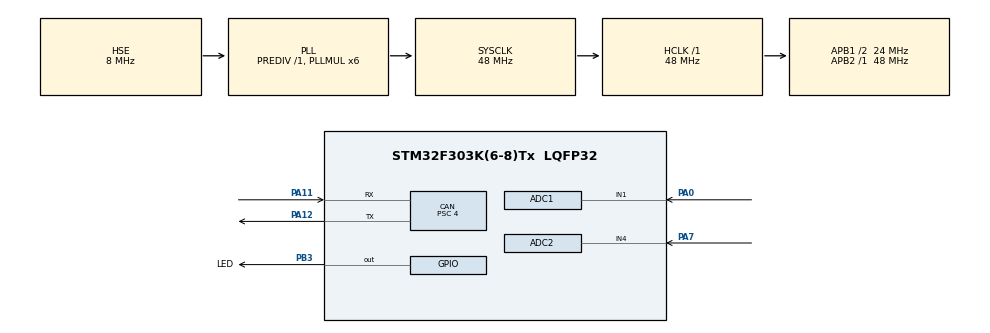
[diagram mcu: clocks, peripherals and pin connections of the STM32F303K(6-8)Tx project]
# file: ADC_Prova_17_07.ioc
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ADC1.Channel-0\#ChannelRegularConversion=ADC_CHANNEL_1
ADC1.ClockPrescaler=ADC_CLOCK_ASYNC_DIV1
ADC1.ContinuousConvMode=ENABLE
ADC1.DMAContinuousRequests=DISABLE
ADC1.DataAlign=ADC_DATAALIGN_RIGHT
ADC1.DiscontinuousConvMode=DISABLE
ADC1.EOCSelection=ADC_EOC_SINGLE_CONV
ADC1.EnableAnalogWatchDog1=false
ADC1.EnableAnalogWatchDog2=false
ADC1.EnableAnalogWatchDog3=false
ADC1.EnableInjectedConversion=ENABLE
ADC1.EnableRegularConversion=ENABLE
ADC1.ExternalTrigConv=ADC_SOFTWARE_START
ADC1.ExternalTrigConvEdge=ADC_EXTERNALTRIGCONVEDGE_NONE
ADC1.InjNumberOfConversion=0
ADC1.LowPowerAutoWait=DISABLE
ADC1.NbrOfConversion=1
ADC1.NbrOfConversionFlag=1
ADC1.Offset-0\#ChannelRegularConversion=0
ADC1.OffsetNumber-0\#ChannelRegularConversion=ADC_OFFSET_NONE
ADC1.Overrun=ADC_OVR_DATA_OVERWRITTEN
ADC1.Rank-0\#ChannelRegularConversion=1
ADC1.Resolution=ADC_RESOLUTION_12B
ADC1.SamplingTime-0\#ChannelRegularConversion=ADC_SAMPLETIME_601CYCLES_5
ADC1.ScanConvMode=ADC_SCAN_DISABLE
ADC1.SubFamily=STM32F303x8
ADC1.master=1
ADC2.Channel-1\#ChannelRegularConversion=ADC_CHANNEL_4
ADC2.ClockPrescaler=ADC_CLOCK_ASYNC_DIV1
ADC2.ContinuousConvMode=ENABLE
ADC2.DMAContinuousRequests=DISABLE
ADC2.DataAlign=ADC_DATAALIGN_RIGHT
ADC2.DiscontinuousConvMode=DISABLE
ADC2.EOCSelection=ADC_EOC_SINGLE_CONV
ADC2.EnableAnalogWatchDog1=false
ADC2.EnableAnalogWatchDog2=false
ADC2.EnableAnalogWatchDog3=false
ADC2.EnableInjectedConversion=ENABLE
ADC2.EnableRegularConversion=ENABLE
ADC2.ExternalTrigConv=ADC_SOFTWARE_START
ADC2.ExternalTrigConvEdge=ADC_EXTERNALTRIGCONVEDGE_NONE
ADC2.InjNumberOfConversion=0
ADC2.LowPowerAutoWait=DISABLE
ADC2.NbrOfConversion=1
ADC2.NbrOfConversionFlag=1
ADC2.Offset-1\#ChannelRegularConversion=0
ADC2.OffsetNumber-1\#ChannelRegularConversion=ADC_OFFSET_NONE
ADC2.Overrun=ADC_OVR_DATA_OVERWRITTEN
ADC2.Rank-1\#ChannelRegularConversion=1
ADC2.Resolution=ADC_RESOLUTION_12B
ADC2.SamplingTime-1\#ChannelRegularConversion=ADC_SAMPLETIME_601CYCLES_5
ADC2.ScanConvMode=ADC_SCAN_DISABLE
CAN.BS1=CAN_BS1_7TQ
CAN.CalculateTimeQuantum=166.66666666666666
CAN.Prescaler=4
CAN.TTCM=ENABLE
Mcu.Family=STM32F3
Mcu.Name=STM32F303K(6-8)Tx
Mcu.Package=LQFP32
NVIC.ADC1_2_IRQn=true\:0\:0\:false\:false\:true\:true
NVIC.CAN_RX0_IRQn=true\:0\:0\:false\:false\:true\:true
NVIC.CAN_RX1_IRQn=true\:0\:0\:false\:false\:true\:true
NVIC.PriorityGroup=NVIC_PRIORITYGROUP_4
PA0.Mode=IN1-Single-Ended
PA0.Signal=ADC1_IN1
PA11.Mode=Master
PA11.Signal=CAN_RX
PA12.Mode=Master
PA12.Signal=CAN_TX
PA13.Mode=Serial_Wire
PA13.Signal=SYS_JTMS-SWDIO
PA14.Mode=Serial_Wire
PA14.Signal=SYS_JTCK-SWCLK
PA7.Mode=IN4-Single-Ended
PA7.Signal=ADC2_IN4
PB3.GPIO_Label=LED
PB3.Signal=GPIO_Output
PF0\ /\ OSC_IN.Mode=HSE-External-Oscillator
PF0\ /\ OSC_IN.Signal=RCC_OSC_IN
PF1\ /\ OSC_OUT.Mode=HSE-External-Oscillator
PF1\ /\ OSC_OUT.Signal=RCC_OSC_OUT
ProjectManager.HeapSize=0x200
ProjectManager.StackSize=0x400
ProjectManager.TargetToolchain=SW4STM32
RCC.AHBFreq_Value=48000000
RCC.APB1CLKDivider=RCC_HCLK_DIV2
RCC.APB1Freq_Value=24000000
RCC.APB1TimFreq_Value=48000000
RCC.APB2Freq_Value=48000000
RCC.APB2TimFreq_Value=48000000
RCC.CortexFreq_Value=48000000
RCC.HCLKFreq_Value=48000000
RCC.HSE_VALUE=8000000
RCC.HSI_VALUE=8000000
RCC.PLLMUL=RCC_PLL_MUL6
RCC.PLLSourceVirtual=RCC_PLLSOURCE_HSE
RCC.SYSCLKFreq_VALUE=48000000
RCC.SYSCLKSourceVirtual=RCC_SYSCLKSOURCE_PLLCLK
board=NUCLEO-F303K8

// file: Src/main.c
/**
  ******************************************************************************
  * @file           : main.c
  * @brief          : Main program body
  ******************************************************************************
  ** This notice applies to any and all portions of this file
  * that are not between comment pairs USER CODE BEGIN and
  * USER CODE END. Other portions of this file, whether
  * inserted by the user or by software development tools
  * are owned by their respective copyright owners.
  *
  * COPYRIGHT(c) 2019 STMicroelectronics
  *
  * Redistribution and use in source and binary forms, with or without modification,
  * are permitted provided that the following conditions are met:
  *   1. Redistributions of source code must retain the above copyright notice,
  *      this list of conditions and the following disclaimer.
  *   2. Redistributions in binary form must reproduce the above copyright notice,
  *      this list of conditions and the following disclaimer in the documentation
  *      and/or other materials provided with the distribution.
  *   3. Neither the name of STMicroelectronics nor the names of its contributors
  *      may be used to endorse or promote products derived from this software
  *      without specific prior written permission.
  *
  * THIS SOFTWARE IS PROVIDED BY THE COPYRIGHT HOLDERS AND CONTRIBUTORS "AS IS"
  * AND ANY EXPRESS OR IMPLIED WARRANTIES, INCLUDING, BUT NOT LIMITED TO, THE
  * IMPLIED WARRANTIES OF MERCHANTABILITY AND FITNESS FOR A PARTICULAR PURPOSE ARE
  * DISCLAIMED. IN NO EVENT SHALL THE COPYRIGHT HOLDER OR CONTRIBUTORS BE LIABLE
  * FOR ANY DIRECT, INDIRECT, INCIDENTAL, SPECIAL, EXEMPLARY, OR CONSEQUENTIAL
  * DAMAGES (INCLUDING, BUT NOT LIMITED TO, PROCUREMENT OF SUBSTITUTE GOODS OR
  * SERVICES; LOSS OF USE, DATA, OR PROFITS; OR BUSINESS INTERRUPTION) HOWEVER
  * CAUSED AND ON ANY THEORY OF LIABILITY, WHETHER IN CONTRACT, STRICT LIABILITY,
  * OR TORT (INCLUDING NEGLIGENCE OR OTHERWISE) ARISING IN ANY WAY OUT OF THE USE
  * OF THIS SOFTWARE, EVEN IF ADVISED OF THE POSSIBILITY OF SUCH DAMAGE.
  *
  ******************************************************************************
  */
#include "main.h"
#include "stm32f3xx_hal.h"
#include "adc.h"
#include "can.h"
#include "gpio.h"

/* USER CODE BEGIN PV */
/* Private variables ---------------------------------------------------------*/

extern CanTxMsgTypeDef TxMessage;

//uint16_t buffer[2];
uint32_t TPS1;			// variabili che arrivano dal CAN BUS
uint32_t TPS2;
uint32_t TPSe;
uint8_t M = 0;

uint32_t timeTPS=0;		// controlli TPS
uint8_t implTPS=0;
uint8_t errTPS=0;
uint8_t iTPS=0;
uint8_t jTPS=0;
uint8_t flagTPS1 = 0;

//uint32_t APPS1;				// controlli APPS
//uint32_t APPS2;
uint32_t timeAPPS=0;
uint8_t implAPPS=0;
uint8_t errAPPS=0;
uint8_t iAPPS=0;
uint8_t jAPPS=0;

uint32_t timeTPSe=0;		// controlli TPSe
uint8_t implTPSe=0;
uint8_t errTPSe=0;
uint8_t iTPSe=0;
uint8_t jTPSe=0;
uint8_t flagTPSe = 0;

uint32_t timeMe=0;		// controlli M
uint32_t timeMr=0;
uint8_t implM=0;
uint8_t errM=0;
uint8_t iM=0;
uint8_t jM=0;

uint32_t time_send = 0;  //tempistiche dell'invio

uint16_t APPS1 = 0;
uint16_t APPS2 = 0;
//uint8_t i = 0;
/* USER CODE END PV */

void SystemClock_Config(void);

/* USER CODE BEGIN PFP */
/* Private function prototypes -----------------------------------------------*/
extern void initialise_monitor_handles(void);
extern void setupCANfilter();

HAL_ADC_ConvCpltCallback(ADC_HandleTypeDef* hadc){
	if (hadc ->Instance == ADC1){
		APPS1 = HAL_ADC_GetValue(&hadc1);
	}

	if (hadc -> Instance == ADC2){
		APPS2 = HAL_ADC_GetValue(&hadc2);
	}
}

/* USER CODE END PFP */

int main(void)
{

  /* MCU Configuration----------------------------------------------------------*/

  /* Reset of all peripherals, Initializes the Flash interface and the Systick. */
  HAL_Init();

  /* Configure the system clock */
  SystemClock_Config();

  /* Initialize all configured peripherals */
  MX_GPIO_Init();
  MX_ADC2_Init();
  MX_CAN_Init();
  MX_ADC1_Init();
  /* USER CODE BEGIN 2 */
	//initialise_monitor_handles();
	//printf("prova\n");
	HAL_GPIO_WritePin(LED_GPIO_Port, LED_Pin, 1);
	HAL_ADC_Start_IT(&hadc1);
	HAL_ADC_Start_IT(&hadc2);
	setupCANfilter();
  /* USER CODE END 2 */

  /* Infinite loop */
	while (1)
	{

  /* USER CODE BEGIN 3 */
		//printf("%d %d\n",APPS1,APPS2);
		if(__HAL_CAN_GET_FLAG(&hcan,CAN_FLAG_FF0))
		{
			__HAL_CAN_FIFO_RELEASE(&hcan,CAN_FIFO0 );
			if (HAL_CAN_Receive_IT(&hcan, CAN_FIFO0) != HAL_OK) // Abilita la ricezione del CAN tramite Interrupt
			{
				/* Reception Error */
				//Error_Handler();
			}
		}

		//controlli TPS
		if((((TPS1+TPS2)>1050) || ((TPS1+TPS2)<950)) && (flagTPS1 == 1)) {
			if(implTPS==0) {
				timeTPS=HAL_GetTick();
				implTPS=1;
				jTPS=0;
			}
			if(((HAL_GetTick()-timeTPS)>150) && (iTPS<3)) {
				errTPS=1;
				TxMessage.StdId = 2;
				hcan.pTxMsg->Data[0] = 1;		//invia errore
				hcan.pTxMsg->Data[1] = 0;
				hcan.pTxMsg->Data[2] = 0;
				hcan.pTxMsg->Data[3] = 0;
				HAL_CAN_Transmit(&hcan, 10);
				iTPS++;
			}
		}

		if(((TPS1+TPS2)<1050) && ((TPS1+TPS2)>950) && (implTPS==1) && (flagTPS1 == 1)) {
			implTPS=0;
			iTPS=0;
			if ((errTPS==1) && (jTPS<3)) {
				errTPS=0;
				TxMessage.StdId = 2;
				hcan.pTxMsg->Data[0] = 0;		//cancella errore
				hcan.pTxMsg->Data[1] = 0;
				hcan.pTxMsg->Data[2] = 0;
				hcan.pTxMsg->Data[3] = 0;
				HAL_CAN_Transmit(&hcan, 10);
				jTPS++;
			}
		}

		//controlli APPS
		if(((APPS1+APPS2)>4305) || ((APPS1+APPS2)<3895)) {
			if(implAPPS==0) {
				timeAPPS=HAL_GetTick();
				implAPPS=1;
				jAPPS=0;
			}
			if(((HAL_GetTick()-timeAPPS)>150) && (iAPPS<3)) {
				errAPPS=1;
				TxMessage.StdId = 3;
				hcan.pTxMsg->Data[0] = 1;		//invia errore
				hcan.pTxMsg->Data[1] = 0;
				hcan.pTxMsg->Data[2] = 0;
				hcan.pTxMsg->Data[3] = 0;
				HAL_CAN_Transmit(&hcan, 10);
				iAPPS++;
			}
		}

		if(((APPS1+APPS2)>3895) && ((APPS1+APPS2)<4305) && (implAPPS==1)) {
			implAPPS=0;
			iAPPS=0;
			if ((errAPPS==1) && (jAPPS<3)) {
				errAPPS=0;
				TxMessage.StdId = 3;
				hcan.pTxMsg->Data[0] = 0;		//cancella errore
				hcan.pTxMsg->Data[1] = 0;
				hcan.pTxMsg->Data[2] = 0;
				hcan.pTxMsg->Data[3] = 0;
				HAL_CAN_Transmit(&hcan, 10);
				jAPPS++;
			}
		}

		//controlli TPSe
		if((((TPSe-TPS1)>50) || (((TPSe-TPS1)<(-50)))) && (flagTPSe == 1)) {
			if(implTPSe==0) {
				timeTPSe=HAL_GetTick();
				implTPSe=1;
				jTPSe=0;
			}
			if(((HAL_GetTick()-timeTPSe)>750) && (iTPSe<3)) {
				errTPSe=1;
				TxMessage.StdId = 4;
				hcan.pTxMsg->Data[0] = 1;		//invia errore
				hcan.pTxMsg->Data[1] = 0;
				hcan.pTxMsg->Data[2] = 0;
				hcan.pTxMsg->Data[3] = 0;
				HAL_CAN_Transmit(&hcan, 10);
				iTPSe++;
			}
		}

		if(((TPSe-TPS1)<50) && (((TPSe-TPS1)>(-50))) && (flagTPSe == 1)) {
			implTPSe=0;
			iTPSe=0;
			if ((errTPSe==1) && (jTPSe<3)) {
				errTPSe=0;
				TxMessage.StdId = 4;
				hcan.pTxMsg->Data[0] = 0;		//cancella errore
				hcan.pTxMsg->Data[1] = 0;
				hcan.pTxMsg->Data[2] = 0;
				hcan.pTxMsg->Data[3] = 0;
				HAL_CAN_Transmit(&hcan, 10);
				jTPSe++;
			}
		}

		//controllo M e TPS
		if((M==1) && ((TPS1<66) || (TPS1>74)) /*&& (flagTPS1 == 1)*/) {
			if(implM==0) {
				timeMe=HAL_GetTick();
				implM=1;
				jM=0;
			}
			if(((HAL_GetTick()-timeMe)>1500) && (iM<3)) {
				errM=1;
				TxMessage.StdId = 0;
				hcan.pTxMsg->Data[0] = 1;		//invia errore
				hcan.pTxMsg->Data[1] = 0;
				hcan.pTxMsg->Data[2] = 0;
				hcan.pTxMsg->Data[3] = 0;
				HAL_CAN_Transmit(&hcan, 10);
				iM++;
			}
		}

		if((M==1) && ((TPS1>66) && (TPS1<74))) { // errore, ma i valori sono tornati giusti
			if(implM==1){
				implM=0;
				timeMr=HAL_GetTick();
				iM=0;
			}
			if(((HAL_GetTick()-timeMr)>1500) && (jM<3)) {
				errM=0;
				TxMessage.StdId = 0;
				hcan.pTxMsg->Data[0] = 0;		//cancella errore
				hcan.pTxMsg->Data[1] = 0;
				hcan.pTxMsg->Data[2] = 0;
				hcan.pTxMsg->Data[3] = 0;
				HAL_CAN_Transmit(&hcan, 10);
				jM++;
				M = 0;
			}
		}

		if((HAL_GetTick() -  time_send) > 8){  //invio dei valori dell'ADC ogni 5ms
			TxMessage.StdId = 11;
			/*byte_1 = buffer[0] & 0xFF;
	  			byte_2 = buffer[0] >> 8;
	  			byte_3 = buffer[1] & 0xFF;
	  			byte_4 = buffer[1] >> 8;
	  			byte_5 = ((uint16_t) byte_2 << 8) + byte_1;
	  			byte_6 = ((uint16_t) byte_4 << 8) + byte_3;*/

			/*	hcan.pTxMsg->Data[1] = & 0xFF;
			hcan.pTxMsg->Data[0] = buffer[0] >> 8;
			hcan.pTxMsg->Data[3] = buffer[1] & 0xFF;
			hcan.pTxMsg->Data[2] = buffer[1] >> 8;*/
			hcan.pTxMsg->Data[1] = APPS1 & 0xFF;
			hcan.pTxMsg->Data[0] = APPS1 >> 8;
			hcan.pTxMsg->Data[3] = APPS2 & 0xFF;
			hcan.pTxMsg->Data[2] = APPS2 >> 8;
			HAL_CAN_Transmit(&hcan, 10);
			time_send = HAL_GetTick();
		}
	}
  /* USER CODE END 3 */

}

void SystemClock_Config(void)
{

  RCC_OscInitTypeDef RCC_OscInitStruct;
  RCC_ClkInitTypeDef RCC_ClkInitStruct;
  RCC_PeriphCLKInitTypeDef PeriphClkInit;

    /**Initializes the CPU, AHB and APB busses clocks
    */
  RCC_OscInitStruct.OscillatorType = RCC_OSCILLATORTYPE_HSE;
  RCC_OscInitStruct.HSEState = RCC_HSE_ON;
  RCC_OscInitStruct.HSEPredivValue = RCC_HSE_PREDIV_DIV1;
  RCC_OscInitStruct.HSIState = RCC_HSI_ON;
  RCC_OscInitStruct.PLL.PLLState = RCC_PLL_ON;
  RCC_OscInitStruct.PLL.PLLSource = RCC_PLLSOURCE_HSE;
  RCC_OscInitStruct.PLL.PLLMUL = RCC_PLL_MUL6;
  if (HAL_RCC_OscConfig(&RCC_OscInitStruct) != HAL_OK)
  {
    _Error_Handler(__FILE__, __LINE__);
  }

    /**Initializes the CPU, AHB and APB busses clocks
    */
  RCC_ClkInitStruct.ClockType = RCC_CLOCKTYPE_HCLK|RCC_CLOCKTYPE_SYSCLK
                              |RCC_CLOCKTYPE_PCLK1|RCC_CLOCKTYPE_PCLK2;
  RCC_ClkInitStruct.SYSCLKSource = RCC_SYSCLKSOURCE_PLLCLK;
  RCC_ClkInitStruct.AHBCLKDivider = RCC_SYSCLK_DIV1;
  RCC_ClkInitStruct.APB1CLKDivider = RCC_HCLK_DIV2;
  RCC_ClkInitStruct.APB2CLKDivider = RCC_HCLK_DIV1;

  if (HAL_RCC_ClockConfig(&RCC_ClkInitStruct, FLASH_LATENCY_1) != HAL_OK)
  {
    _Error_Handler(__FILE__, __LINE__);
  }

  PeriphClkInit.PeriphClockSelection = RCC_PERIPHCLK_ADC12;
  PeriphClkInit.Adc12ClockSelection = RCC_ADC12PLLCLK_DIV1;
  if (HAL_RCCEx_PeriphCLKConfig(&PeriphClkInit) != HAL_OK)
  {
    _Error_Handler(__FILE__, __LINE__);
  }

    /**Configure the Systick interrupt time
    */
  HAL_SYSTICK_Config(HAL_RCC_GetHCLKFreq()/1000);

    /**Configure the Systick
    */
  HAL_SYSTICK_CLKSourceConfig(SYSTICK_CLKSOURCE_HCLK);

  /* SysTick_IRQn interrupt configuration */
  HAL_NVIC_SetPriority(SysTick_IRQn, 0, 0);
}

/* USER CODE BEGIN 4 */
void HAL_CAN_RxCpltCallback(CAN_HandleTypeDef *hcan)
{
	if (hcan->pRxMsg->StdId == 20){
		flagTPS1 = 1;
		TPS1 = (((uint16_t)hcan->pRxMsg->Data[0]) << 8) + hcan->pRxMsg->Data[1];
		TPS2 = (((uint16_t)hcan->pRxMsg->Data[2]) << 8) + hcan->pRxMsg->Data[3];
		TPSe = (((uint16_t)hcan->pRxMsg->Data[4]) << 8) + hcan->pRxMsg->Data[5];
	}
	else if (hcan->pRxMsg->StdId == 1) {
		M = (((uint8_t)hcan->pRxMsg->Data[0]));
	}

	__HAL_CAN_ENABLE_IT(hcan, CAN_IT_EWG |
			CAN_IT_EPV |
			CAN_IT_BOF |
			CAN_IT_LEC |
			CAN_IT_ERR |
			CAN_IT_FOV0 |
			CAN_IT_FMP0);
}
/* USER CODE END 4 */

void _Error_Handler(char *file, int line)
{
	while(1)
	{
	}
}

/************************ (C) COPYRIGHT STMicroelectronics *****END OF FILE****/
